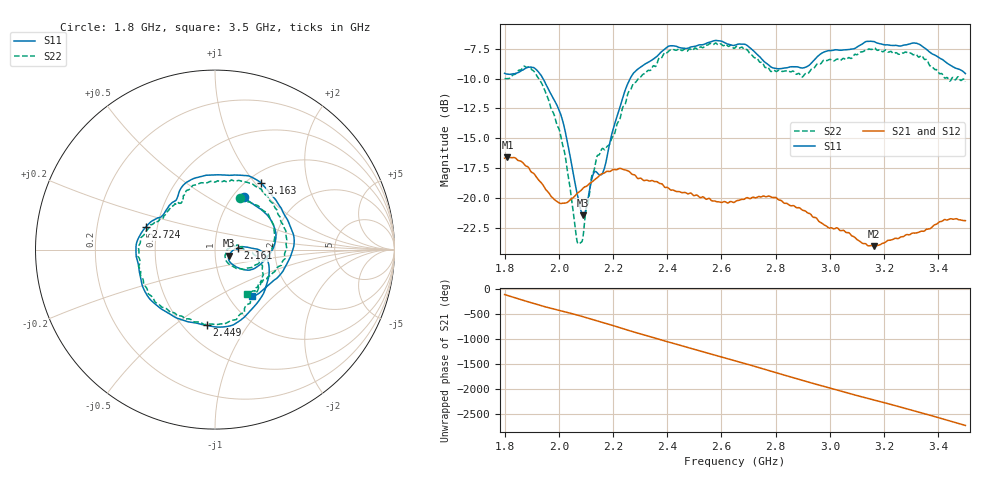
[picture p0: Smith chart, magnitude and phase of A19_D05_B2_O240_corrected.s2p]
! Created with skrf 1.9.0 (http://scikit-rf.org).
# Hz S RI R 50.0
!freq ReS11 ImS11 ReS21 ImS21 ReS12 ImS12 ReS22 ImS22
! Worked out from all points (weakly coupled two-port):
!   1601 points, 1.8 GHz to 3.5 GHz, reference 50 ohm
!   highest |S21| = -16.57 dB at 1.811 GHz (marker M1); lowest = -24.0 dB at 3.162 GHz (marker M2)
!   lowest |S11| = -21.4 dB at 2.09 GHz (marker M3), VSWR 1.19, Z = 58.3 - j3.92 ohm
!   |S11| at or under -10 dB: 1.942 GHz to 2.263 GHz (321 MHz wide, 15.3 % of centre)
!   |S22| runs from -23.8 to -7.0 dB; largest |S21 - S12| = 0.0027
!   S11 on the Smith chart (normalised r, x): 1.8 GHz: 1.13, +0.74; 2.161 GHz: 1.29, +0.02; 2.449 GHz: 0.64, -0.66; 2.724 GHz: 0.43, +0.13; 3.163 GHz: 1.16, +1.08; 3.5 GHz: 1.28, -0.74
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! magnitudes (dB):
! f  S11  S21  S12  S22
! 1.8 GHz  -9.6  -16.7  -16.7  -10.0
! 1.811 GHz  -9.6  -16.6  -16.6  -10.0
! 1.883 GHz  -9.1  -17.3  -17.4  -9.1
! 1.94 GHz  -9.9  -18.9  -18.9  -10.6
! 2.013 GHz  -13.4  -20.4  -20.4  -15.4
! 2.066 GHz  -19.4  -19.6  -19.6  -23.4
! 2.084 GHz  -21.2  -19.3  -19.3  -23.7
! 2.09 GHz  -21.4  -19.1  -19.2  -23.1
! 2.125 GHz  -18.1  -18.6  -18.6  -17.9
! 2.161 GHz  -17.9  -17.9  -17.9  -15.8
! 2.259 GHz  -10.2  -17.8  -17.8  -11.1
! 2.367 GHz  -8.0  -18.7  -18.6  -8.4
! 2.449 GHz  -7.4  -19.5  -19.5  -7.6
! 2.65 GHz  -7.2  -20.3  -20.3  -7.4
! 2.724 GHz  -7.8  -20.0  -19.9  -8.3
! 2.799 GHz  -9.1  -19.9  -19.9  -9.4
! 2.934 GHz  -8.7  -21.5  -21.4  -9.2
! 3.162 GHz  -6.9  -24.0  -24.0  -7.5
! 3.163 GHz  -6.9  -24.0  -24.0  -7.4
! 3.217 GHz  -7.2  -23.5  -23.5  -7.8
! 3.325 GHz  -7.1  -22.9  -22.8  -8.2
! 3.5 GHz  -9.6  -21.9  -21.9  -10.3
